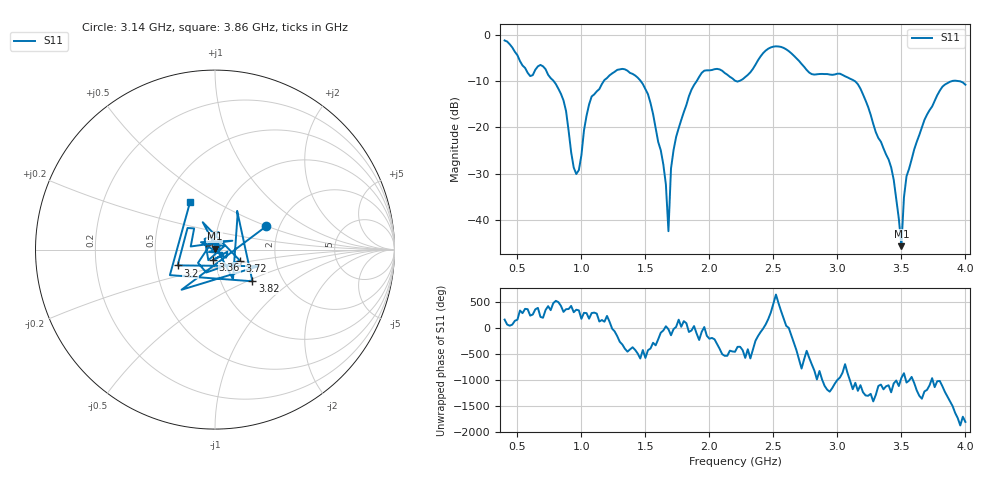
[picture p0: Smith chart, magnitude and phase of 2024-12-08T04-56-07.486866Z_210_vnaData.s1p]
!Created with skrf (http://scikit-rf.org).
# Hz S RI R 50.0
!freq ReS11 ImS11
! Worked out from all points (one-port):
!   181 points, 400 MHz to 4 GHz, reference 50 ohm
!   lowest |S11| = -45.7 dB at 3.5 GHz (marker M1), VSWR 1.01, Z = 49.7 + j0.449 ohm
!   |S11| at or under -10 dB: 782 MHz to 1.176 GHz (393.5 MHz wide, 40.2 % of centre); 1.462 GHz to 1.902 GHz (439.3 MHz wide, 26.1 % of centre); 3.133 GHz to 3.9 GHz (766.5 MHz wide, 21.8 % of centre) (the widest 3 of 5)
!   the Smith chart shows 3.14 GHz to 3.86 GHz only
!   S11 on the Smith chart (normalised r, x): 3.14 GHz: 1.71, +0.49; 3.2 GHz: 0.65, -0.12; 3.36 GHz: 0.97, -0.11; 3.72 GHz: 1.31, -0.17; 3.82 GHz: 1.41, -0.54; 3.86 GHz: 0.67, +0.39
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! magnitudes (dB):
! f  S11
! 400 MHz  -1.3
! 700 MHz  -6.9
! 860 MHz  -14.2
! 960 MHz  -30.1
! 1.08 GHz  -13.4
! 1.3 GHz  -7.5
! 1.52 GHz  -12.9
! 1.64 GHz  -28.0
! 1.66 GHz  -32.3
! 1.68 GHz  -42.4
! 1.7 GHz  -28.9
! 1.76 GHz  -20.2
! 1.96 GHz  -7.8
! 2.2 GHz  -10.0
! 2.48 GHz  -2.8
! 2.66 GHz  -4.6
! 3.1 GHz  -9.5
! 3.14 GHz  -10.1
! 3.2 GHz  -12.9
! 3.36 GHz  -24.5
! 3.44 GHz  -31.3
! 3.5 GHz  -45.7
! 3.52 GHz  -35.1
! 3.56 GHz  -29.0
! 3.72 GHz  -16.3
! 3.82 GHz  -11.3
! 3.86 GHz  -10.5
! 4 GHz  -10.8
